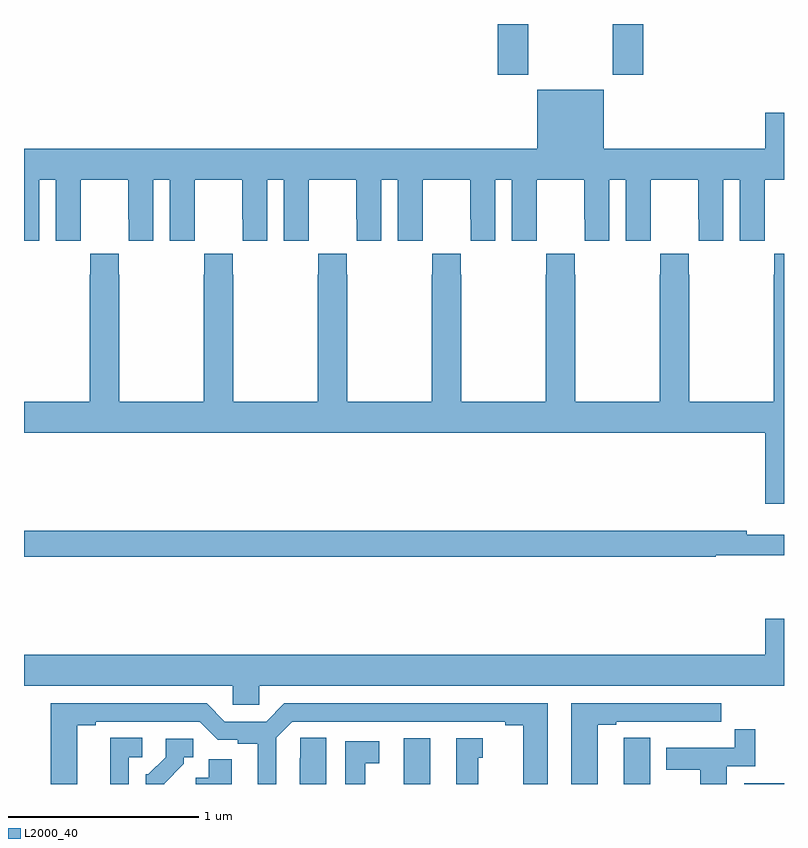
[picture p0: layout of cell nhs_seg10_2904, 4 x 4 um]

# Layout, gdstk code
import gdstk
lib = gdstk.Library(unit=1e-6, precision=1e-09)
def R(c, l, rs):  # rectangles x0, y0, x1, y1
    for r in rs: c.add(gdstk.rectangle(r[:2], r[2:], *l))
def P(c, l, *ps):  # polygons
    for p in ps: c.add(gdstk.Polygon(p, *l))
L2000_40 = (2000, 40)

nhs_seg10_2904 = lib.new_cell('nhs_seg10_2904')
R(nhs_seg10_2904, L2000_40, [(270.998,1266.5,271.138,1266.742), (272.792,1266.5,273,1266.505), (271.493,1270.233,271.653,1270.5), (272.098,1270.233,272.258,1270.5)])
P(nhs_seg10_2904, L2000_40, [(272.05,1270.153),(271.7,1270.153),(271.7,1269.844),(269,1269.844),(269,1269.36),(269.08,1269.36),(269.08,1269.68),(269.168,1269.68),(269.168,1269.36),(269.298,1269.36),(269.298,1269.472),(269.299,1269.472),(269.299,1269.68),(269.549,1269.68),(269.549,1269.472),(269.55,1269.472),(269.55,1269.36),(269.68,1269.36),(269.68,1269.68),(269.768,1269.68),(269.768,1269.36),(269.898,1269.36),(269.898,1269.472),(269.899,1269.472),(269.899,1269.68),(270.149,1269.68),(270.149,1269.472),(270.15,1269.472),(270.15,1269.36),(270.28,1269.36),(270.28,1269.68),(270.368,1269.68),(270.368,1269.36),(270.498,1269.36),(270.498,1269.472),(270.499,1269.472),(270.499,1269.68),(270.749,1269.68),(270.749,1269.472),(270.75,1269.472),(270.75,1269.36),(270.88,1269.36),(270.88,1269.68),(270.968,1269.68),(270.968,1269.36),(271.098,1269.36),(271.098,1269.472),(271.099,1269.472),(271.099,1269.68),(271.349,1269.68),(271.349,1269.472),(271.35,1269.472),(271.35,1269.36),(271.48,1269.36),(271.48,1269.68),(271.568,1269.68),(271.568,1269.36),(271.698,1269.36),(271.698,1269.472),(271.699,1269.472),(271.699,1269.68),(271.949,1269.68),(271.949,1269.472),(271.95,1269.472),(271.95,1269.36),(272.08,1269.36),(272.08,1269.68),(272.168,1269.68),(272.168,1269.36),(272.298,1269.36),(272.298,1269.472),(272.299,1269.472),(272.299,1269.68),(272.549,1269.68),(272.549,1269.472),(272.55,1269.472),(272.55,1269.36),(272.68,1269.36),(272.68,1269.68),(272.768,1269.68),(272.768,1269.36),(272.898,1269.36),(272.898,1269.472),(272.899,1269.472),(272.899,1269.68),(273,1269.68),(273,1270.033),(272.9,1270.033),(272.9,1269.844),(272.05,1269.844)],
  [(273,1269.292),(272.949,1269.292),(272.949,1269.179),(272.947,1269.179),(272.947,1268.512),(272.502,1268.512),(272.502,1269.179),(272.499,1269.179),(272.499,1269.292),(272.349,1269.292),(272.349,1269.179),(272.347,1269.179),(272.347,1268.512),(271.902,1268.512),(271.902,1269.179),(271.899,1269.179),(271.899,1269.292),(271.749,1269.292),(271.749,1269.179),(271.747,1269.179),(271.747,1268.512),(271.302,1268.512),(271.302,1269.179),(271.299,1269.179),(271.299,1269.292),(271.149,1269.292),(271.149,1269.179),(271.147,1269.179),(271.147,1268.512),(270.702,1268.512),(270.702,1269.179),(270.699,1269.179),(270.699,1269.292),(270.549,1269.292),(270.549,1269.179),(270.547,1269.179),(270.547,1268.512),(270.102,1268.512),(270.102,1269.179),(270.099,1269.179),(270.099,1269.292),(269.949,1269.292),(269.949,1269.179),(269.947,1269.179),(269.947,1268.512),(269.502,1268.512),(269.502,1269.179),(269.499,1269.179),(269.499,1269.292),(269.349,1269.292),(269.349,1269.179),(269.347,1269.179),(269.347,1268.512),(269,1268.512),(269,1268.348),(272.9,1268.348),(272.9,1267.974),(273,1267.974)],
  [(272.642,1267.704),(273,1267.704),(273,1267.813),(272.804,1267.813),(272.804,1267.832),(269,1267.832),(269,1267.696),(272.642,1267.696)],
  [(270.237,1267.016),(273,1267.016),(273,1267.369),(272.9,1267.369),(272.9,1267.18),(269,1267.18),(269,1267.016),(270.099,1267.016),(270.099,1266.918),(270.237,1266.918)],
  [(272.02,1266.813),(272.116,1266.813),(272.116,1266.828),(272.392,1266.828),(272.392,1266.827),(272.558,1266.827),(272.558,1266.828),(272.671,1266.828),(272.671,1266.924),(271.88,1266.924),(271.88,1266.5),(272.02,1266.5)],
  [(269.281,1266.808),(269.377,1266.808),(269.377,1266.828),(269.925,1266.828),(270.021,1266.732),(270.126,1266.732),(270.126,1266.712),(270.23,1266.712),(270.23,1266.5),(270.327,1266.5),(270.327,1266.744),(270.411,1266.828),(271.532,1266.828),(271.532,1266.808),(271.628,1266.808),(271.628,1266.5),(271.756,1266.5),(271.756,1266.924),(270.371,1266.924),(270.275,1266.828),(270.057,1266.828),(269.961,1266.924),(269.141,1266.924),(269.141,1266.5),(269.281,1266.5)],
  [(272.698,1266.594),(272.849,1266.594),(272.849,1266.787),(272.74,1266.787),(272.74,1266.69),(272.381,1266.69),(272.381,1266.574),(272.558,1266.574),(272.558,1266.5),(272.698,1266.5)],
  [(272.296,1266.743),(272.157,1266.743),(272.157,1266.635),(272.156,1266.635),(272.156,1266.5),(272.296,1266.5)],
  [(270.592,1266.743),(270.453,1266.743),(270.453,1266.635),(270.452,1266.635),(270.452,1266.5),(270.592,1266.5)],
  [(269.55,1266.642),(269.623,1266.642),(269.623,1266.743),(269.453,1266.743),(269.453,1266.5),(269.55,1266.5)],
  [(271.39,1266.639),(271.414,1266.639),(271.414,1266.742),(271.274,1266.742),(271.274,1266.5),(271.39,1266.5)],
  [(269.737,1266.502),(269.842,1266.607),(269.842,1266.642),(269.892,1266.642),(269.892,1266.738),(269.745,1266.738),(269.745,1266.642),(269.655,1266.552),(269.64,1266.552),(269.64,1266.5),(269.737,1266.5)],
  [(270.796,1266.61),(270.871,1266.61),(270.871,1266.726),(270.692,1266.726),(270.692,1266.5),(270.796,1266.5)],
  [(270.094,1266.63),(269.972,1266.63),(269.972,1266.532),(269.903,1266.532),(269.903,1266.5),(270.094,1266.5)])

lib.write_gds('nhs_seg10_2904.gds')
